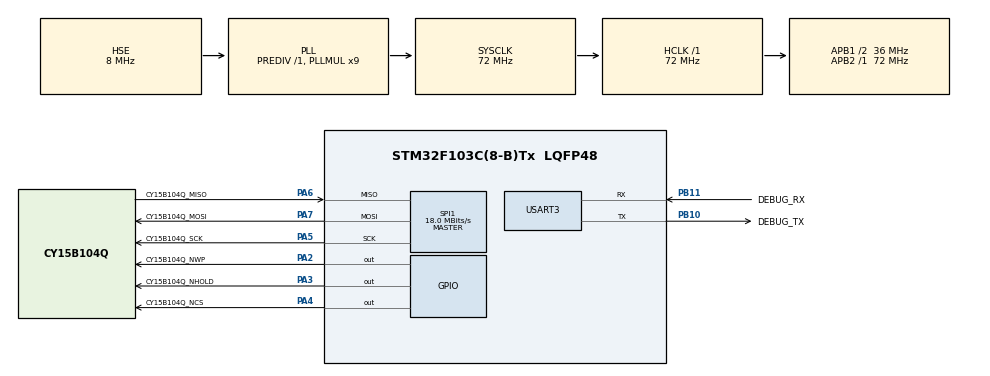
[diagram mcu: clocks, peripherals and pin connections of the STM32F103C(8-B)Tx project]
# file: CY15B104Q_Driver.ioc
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Mcu.Family=STM32F1
Mcu.Name=STM32F103C(8-B)Tx
Mcu.Package=LQFP48
NVIC.PriorityGroup=NVIC_PRIORITYGROUP_4
PA13.Mode=Serial_Wire
PA13.Signal=SYS_JTMS-SWDIO
PA14.Mode=Serial_Wire
PA14.Signal=SYS_JTCK-SWCLK
PA2.GPIO_Label=CY15B104Q_NWP
PA2.GPIO_Speed=GPIO_SPEED_FREQ_HIGH
PA2.PinState=GPIO_PIN_SET
PA2.Signal=GPIO_Output
PA3.GPIO_Label=CY15B104Q_NHOLD
PA3.GPIO_Speed=GPIO_SPEED_FREQ_HIGH
PA3.PinState=GPIO_PIN_SET
PA3.Signal=GPIO_Output
PA4.GPIO_Label=CY15B104Q_NCS
PA4.GPIO_ModeDefaultOutputPP=GPIO_MODE_OUTPUT_PP
PA4.GPIO_PuPd=GPIO_NOPULL
PA4.GPIO_Speed=GPIO_SPEED_FREQ_HIGH
PA4.PinState=GPIO_PIN_SET
PA4.Signal=GPIO_Output
PA5.GPIO_Label=CY15B104Q_SCK
PA5.Mode=Full_Duplex_Master
PA5.Signal=SPI1_SCK
PA6.GPIO_Label=CY15B104Q_MISO
PA6.Mode=Full_Duplex_Master
PA6.Signal=SPI1_MISO
PA7.GPIO_Label=CY15B104Q_MOSI
PA7.Mode=Full_Duplex_Master
PA7.Signal=SPI1_MOSI
PB10.GPIO_Label=DEBUG_TX
PB10.Mode=Asynchronous
PB10.Signal=USART3_TX
PB11.GPIO_Label=DEBUG_RX
PB11.Mode=Asynchronous
PB11.Signal=USART3_RX
PD0-OSC_IN.Mode=HSE-External-Oscillator
PD0-OSC_IN.Signal=RCC_OSC_IN
PD1-OSC_OUT.Mode=HSE-External-Oscillator
PD1-OSC_OUT.Signal=RCC_OSC_OUT
ProjectManager.HeapSize=0x200
ProjectManager.StackSize=0x400
ProjectManager.TargetToolchain=Makefile
RCC.AHBFreq_Value=72000000
RCC.APB1CLKDivider=RCC_HCLK_DIV2
RCC.APB1Freq_Value=36000000
RCC.APB1TimFreq_Value=72000000
RCC.APB2Freq_Value=72000000
RCC.APB2TimFreq_Value=72000000
RCC.HCLKFreq_Value=72000000
RCC.PLLMUL=RCC_PLL_MUL9
RCC.PLLSourceVirtual=RCC_PLLSOURCE_HSE
RCC.SYSCLKFreq_VALUE=72000000
RCC.SYSCLKSource=RCC_SYSCLKSOURCE_PLLCLK
RCC.USBFreq_Value=72000000
SPI1.BaudRatePrescaler=SPI_BAUDRATEPRESCALER_4
SPI1.CLKPhase=SPI_PHASE_1EDGE
SPI1.CLKPolarity=SPI_POLARITY_LOW
SPI1.CalculateBaudRate=18.0 MBits/s
SPI1.Direction=SPI_DIRECTION_2LINES
SPI1.Mode=SPI_MODE_MASTER
SPI1.VirtualType=VM_MASTER
USART3.VirtualMode=VM_ASYNC
board=custom

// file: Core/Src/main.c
/* USER CODE BEGIN Header */
/**
  ******************************************************************************
  * @file           : main.c
  * @brief          : Main program body
  ******************************************************************************
  * @attention
  *
  * Copyright (c) 2024 STMicroelectronics.
  * All rights reserved.
  *
  * This software is licensed under terms that can be found in the LICENSE file
  * in the root directory of this software component.
  * If no LICENSE file comes with this software, it is provided AS-IS.
  *
  ******************************************************************************
  */
/* USER CODE END Header */
#include "main.h"

/* USER CODE BEGIN Includes */
#include "cy15b104q_driver.h"
/* USER CODE END Includes */

SPI_HandleTypeDef hspi1;

UART_HandleTypeDef huart3;

void SystemClock_Config(void);
static void MX_GPIO_Init(void);
static void MX_SPI1_Init(void);
static void MX_USART3_UART_Init(void);
/* USER CODE BEGIN PFP */
static cy15b104q_driver_status cy15b104q_transmit(
  const uint8_t *const data,
  const uint16_t size,
  const uint32_t timeout
);
static cy15b104q_driver_status cy15b104q_receive(
  uint8_t *const data,
  const uint16_t size,
  const uint32_t timeout
);
static void cy15b104q_write_cs_pin(const bool is_set);
/* USER CODE END PFP */

int main(void)
{

  /* MCU Configuration--------------------------------------------------------*/

  /* Reset of all peripherals, Initializes the Flash interface and the Systick. */
  HAL_Init();

  /* Configure the system clock */
  SystemClock_Config();

  /* Initialize all configured peripherals */
  MX_GPIO_Init();
  MX_SPI1_Init();
  MX_USART3_UART_Init();
  /* USER CODE BEGIN 2 */

  cy15b104q_driver_init_module(
    (cy15b104q_driver_io_struct) {
      .transmit = cy15b104q_transmit,
      .receive = cy15b104q_receive,
      .write_cs_pin = cy15b104q_write_cs_pin,
      .delay = HAL_Delay
    }
  );

  cy15b104q_driver_status status = cy15b104q_driver_power_up();
  status |= cy15b104q_driver_check_link();
  if (status)
    Error_Handler();

  /* USER CODE END 2 */

  /* Infinite loop */
  while (1)
  {

  }
}

void SystemClock_Config(void)
{
  RCC_OscInitTypeDef RCC_OscInitStruct = {0};
  RCC_ClkInitTypeDef RCC_ClkInitStruct = {0};

  /** Initializes the RCC Oscillators according to the specified parameters
  * in the RCC_OscInitTypeDef structure.
  */
  RCC_OscInitStruct.OscillatorType = RCC_OSCILLATORTYPE_HSE;
  RCC_OscInitStruct.HSEState = RCC_HSE_ON;
  RCC_OscInitStruct.HSEPredivValue = RCC_HSE_PREDIV_DIV1;
  RCC_OscInitStruct.HSIState = RCC_HSI_ON;
  RCC_OscInitStruct.PLL.PLLState = RCC_PLL_ON;
  RCC_OscInitStruct.PLL.PLLSource = RCC_PLLSOURCE_HSE;
  RCC_OscInitStruct.PLL.PLLMUL = RCC_PLL_MUL9;
  if (HAL_RCC_OscConfig(&RCC_OscInitStruct) != HAL_OK)
  {
    Error_Handler();
  }

  /** Initializes the CPU, AHB and APB buses clocks
  */
  RCC_ClkInitStruct.ClockType = RCC_CLOCKTYPE_HCLK|RCC_CLOCKTYPE_SYSCLK
                              |RCC_CLOCKTYPE_PCLK1|RCC_CLOCKTYPE_PCLK2;
  RCC_ClkInitStruct.SYSCLKSource = RCC_SYSCLKSOURCE_PLLCLK;
  RCC_ClkInitStruct.AHBCLKDivider = RCC_SYSCLK_DIV1;
  RCC_ClkInitStruct.APB1CLKDivider = RCC_HCLK_DIV2;
  RCC_ClkInitStruct.APB2CLKDivider = RCC_HCLK_DIV1;

  if (HAL_RCC_ClockConfig(&RCC_ClkInitStruct, FLASH_LATENCY_2) != HAL_OK)
  {
    Error_Handler();
  }
}

static void MX_SPI1_Init(void)
{

  /* SPI1 parameter configuration*/
  hspi1.Instance = SPI1;
  hspi1.Init.Mode = SPI_MODE_MASTER;
  hspi1.Init.Direction = SPI_DIRECTION_2LINES;
  hspi1.Init.DataSize = SPI_DATASIZE_8BIT;
  hspi1.Init.CLKPolarity = SPI_POLARITY_LOW;
  hspi1.Init.CLKPhase = SPI_PHASE_1EDGE;
  hspi1.Init.NSS = SPI_NSS_SOFT;
  hspi1.Init.BaudRatePrescaler = SPI_BAUDRATEPRESCALER_4;
  hspi1.Init.FirstBit = SPI_FIRSTBIT_MSB;
  hspi1.Init.TIMode = SPI_TIMODE_DISABLE;
  hspi1.Init.CRCCalculation = SPI_CRCCALCULATION_DISABLE;
  hspi1.Init.CRCPolynomial = 10;
  if (HAL_SPI_Init(&hspi1) != HAL_OK)
  {
    Error_Handler();
  }

}

static void MX_USART3_UART_Init(void)
{

  huart3.Instance = USART3;
  huart3.Init.BaudRate = 115200;
  huart3.Init.WordLength = UART_WORDLENGTH_8B;
  huart3.Init.StopBits = UART_STOPBITS_1;
  huart3.Init.Parity = UART_PARITY_NONE;
  huart3.Init.Mode = UART_MODE_TX_RX;
  huart3.Init.HwFlowCtl = UART_HWCONTROL_NONE;
  huart3.Init.OverSampling = UART_OVERSAMPLING_16;
  if (HAL_UART_Init(&huart3) != HAL_OK)
  {
    Error_Handler();
  }

}

static void MX_GPIO_Init(void)
{
  GPIO_InitTypeDef GPIO_InitStruct = {0};

  /* GPIO Ports Clock Enable */
  __HAL_RCC_GPIOD_CLK_ENABLE();
  __HAL_RCC_GPIOA_CLK_ENABLE();
  __HAL_RCC_GPIOB_CLK_ENABLE();

  /*Configure GPIO pin Output Level */
  HAL_GPIO_WritePin(GPIOA, CY15B104Q_NWP_Pin|CY15B104Q_NHOLD_Pin|CY15B104Q_NCS_Pin, GPIO_PIN_SET);

  /*Configure GPIO pins : CY15B104Q_NWP_Pin CY15B104Q_NHOLD_Pin CY15B104Q_NCS_Pin */
  GPIO_InitStruct.Pin = CY15B104Q_NWP_Pin|CY15B104Q_NHOLD_Pin|CY15B104Q_NCS_Pin;
  GPIO_InitStruct.Mode = GPIO_MODE_OUTPUT_PP;
  GPIO_InitStruct.Pull = GPIO_NOPULL;
  GPIO_InitStruct.Speed = GPIO_SPEED_FREQ_HIGH;
  HAL_GPIO_Init(GPIOA, &GPIO_InitStruct);

}

/* USER CODE BEGIN 4 */

static cy15b104q_driver_status cy15b104q_transmit(
  const uint8_t *const data,
  const uint16_t size,
  const uint32_t timeout
)
{
  return (cy15b104q_driver_status)HAL_SPI_Transmit(
    &hspi1,
    (uint8_t*)data,
    size,
    timeout
  );
}

static cy15b104q_driver_status cy15b104q_receive(
  uint8_t *const data,
  const uint16_t size,
  const uint32_t timeout
)
{
  return (cy15b104q_driver_status)HAL_SPI_Receive(
    &hspi1,
    data,
    size,
    timeout
  );
}

static void cy15b104q_write_cs_pin(const bool is_set)
{
  HAL_GPIO_WritePin(
    CY15B104Q_NCS_GPIO_Port,
    CY15B104Q_NCS_Pin,
    is_set ? GPIO_PIN_SET : GPIO_PIN_RESET
  );
}

/* USER CODE END 4 */

void Error_Handler(void)
{
  __disable_irq();
  while (1)
  {
  }
}
